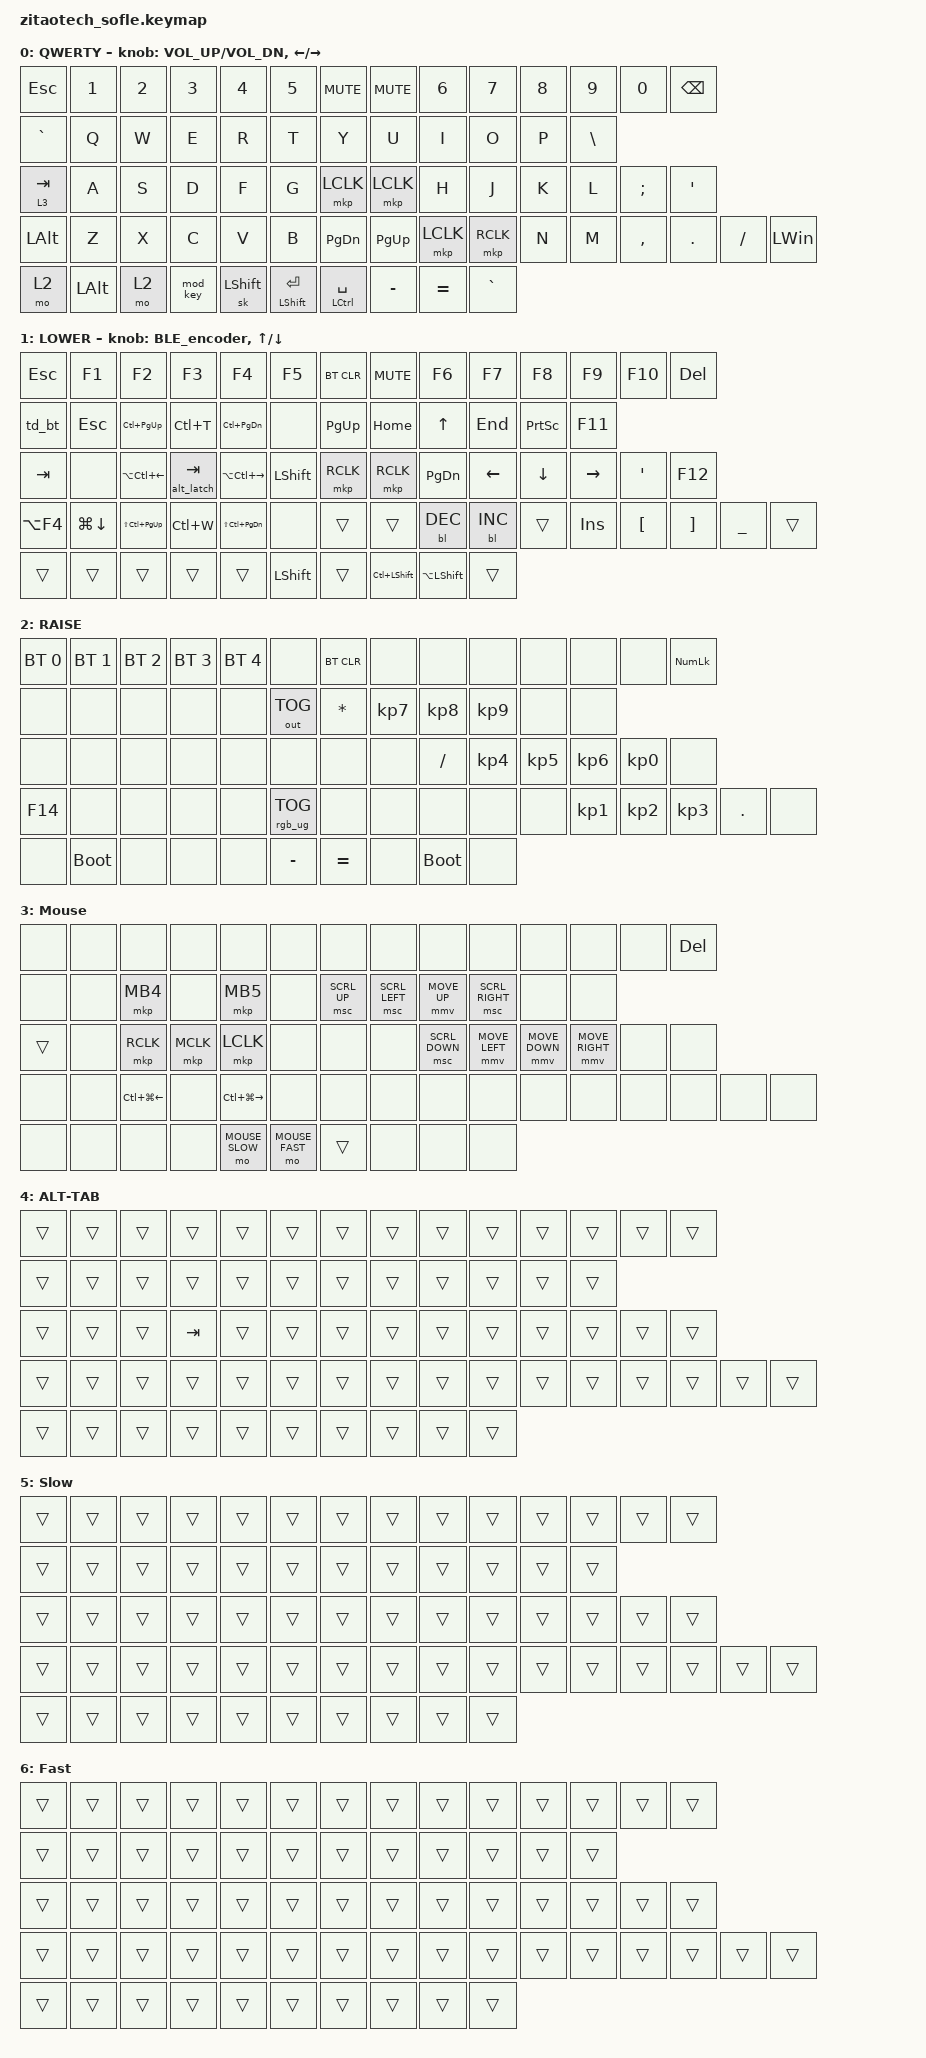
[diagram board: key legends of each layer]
/*
 * Copyright (c) 2025 ZitaoTech
 *
 * SPDX-License-Identifier: MIT
 */

#include <dt-bindings/zmk/mouse.h>
#include <behaviors.dtsi>
#include <dt-bindings/zmk/backlight.h>
#include <dt-bindings/zmk/bt.h>
#include <dt-bindings/zmk/keys.h>
#include <dt-bindings/zmk/outputs.h>
#include <dt-bindings/zmk/pointing.h>
#include <dt-bindings/zmk/rgb.h>

#define FUNC 1
#define RES 2
#define LOWER 1
#define ALT_TAB_LAYER 4
#define MOUSE_SLOW 5
#define MOUSE_FAST 6
#define BOT bootloader

/* Layout-independent "`" via WinCompose: Menu (K_APP), then 6, 0.
 * F13 is dropped over BLE, so it typed "60". RAlt is AltGr on Russian.
 * Digits 6/0 are the same on EN and RU. Fence newlines are Shift+Enter.
 *
 * WinCompose (once):
 *   1. Compose key = Application / Menu  (settings.ini: compose_key=VK.APPS)
 *   2. %USERPROFILE%\.XCompose  — this one line only, no include:
 *        <Multi_key> <6> <0> : "`" # backtick
 *      Then restart WinCompose.
 */

#define UC_MACRO_TAP_MS 5
#define UC_MACRO_WAIT_MS 5

/ {
    input_processors {
        zip_temp_layer: zip_temp_layer {
            compatible = "zmk,input-processor-temp-layer";
            #input-processor-cells = <2>;
        };

        ip_behaviors0: ip_behaviors0 {
            compatible = "zmk,input-processor-behaviors";
            #input-processor-cells = <0>;
            type = <INPUT_EV_KEY>;
            codes = <INPUT_BTN_0>;
            bindings = <&kp RIGHT>;
        };

        ip_behaviors1: ip_behaviors1 {
            compatible = "zmk,input-processor-behaviors";
            #input-processor-cells = <0>;
            type = <INPUT_EV_KEY>;
            codes = <INPUT_BTN_1>;
            bindings = <&kp LEFT>;
        };

        ip_behaviors2: ip_behaviors2 {
            compatible = "zmk,input-processor-behaviors";
            #input-processor-cells = <0>;
            type = <INPUT_EV_KEY>;
            codes = <INPUT_BTN_2>;
            bindings = <&kp DOWN>;
        };

        ip_behaviors3: ip_behaviors3 {
            compatible = "zmk,input-processor-behaviors";
            #input-processor-cells = <0>;
            type = <INPUT_EV_KEY>;
            codes = <INPUT_BTN_3>;
            bindings = <&kp UP>;
        };

        ip_y_invert: ip_y_invert {
            compatible = "zmk,input-processor-scaler";
            #input-processor-cells = <2>;
            type = <INPUT_EV_REL>;
            codes = <INPUT_REL_Y>;
        };

        ip_x_half: ip_x_half {
            compatible = "zmk,input-processor-scaler";
            #input-processor-cells = <2>;
            type = <INPUT_EV_REL>;
            codes = <INPUT_REL_X>;
            track-remainders;
        };

        /* Scale &mmv X/Y. Params are multiplier then divisor (max 16). */

        ip_xy_scale: ip_xy_scale {
            compatible = "zmk,input-processor-scaler";
            #input-processor-cells = <2>;
            type = <INPUT_EV_REL>;
            codes = <INPUT_REL_X INPUT_REL_Y>;
            track-remainders;
        };

        ip_xy_to_scroll: ip_xy_to_scroll {
            compatible = "zmk,input-processor-code-mapper";
            #input-processor-cells = <0>;
            type = <INPUT_EV_REL>;
            map = <INPUT_REL_Y INPUT_REL_WHEEL>, <INPUT_REL_X INPUT_REL_HWHEEL>;
        };

        /* Drop X/Y/wheel while Left Ctrl is in the HID report (held key or LC()). */

        ip_mute_if_lctrl: ip_mute_if_lctrl {
            compatible = "zmk,input-processor-mute-if-lctrl";
            #input-processor-cells = <0>;
        };
    };
};

/ {
    macros {
        // Replaces "&mo 1" on lower-layer hold keys.

        mod_key: mod_key {
            compatible = "zmk,behavior-macro";
            #binding-cells = <0>;
            wait-ms = <0>;
            tap-ms = <0>;
            bindings =
                <&macro_press>,
                <&mo LOWER>,
                <&macro_pause_for_release>,
                <&macro_release>,
                <&kp LALT>,
                <&macro_release>,
                <&mo ALT_TAB_LAYER>,
                <&macro_release>,
                <&mo LOWER>;
        };

        // First tap: press Alt once, send key, enable ALT_TAB_LAYER.
        // Further taps hit that layer (plain &kp) so Alt refcount stays at 1.
        // ZMK refcounts modifiers — macro_press LALT on every tap was the "giga latch".

        alt_latch: alt_latch {
            compatible = "zmk,behavior-macro-one-param";
            #binding-cells = <1>;
            wait-ms = <0>;
            tap-ms = <5>;
            bindings =
                <&macro_press>,
                <&kp LALT &macro_param_1to1>,
                <&macro_tap>,
                <&kp MACRO_PLACEHOLDER>,
                <&macro_press>,
                <&mo ALT_TAB_LAYER>;
        };

        // Single tap: "``" with the caret between the backticks.
        // Sequences are fully inlined (not nested `&uc`) so later keys like LEFT
        // are not queued ahead of the unicode HID events.

        bt_pair: backtick_pair {
            compatible = "zmk,behavior-macro";
            #binding-cells = <0>;
            wait-ms = <UC_MACRO_WAIT_MS>;
            tap-ms = <UC_MACRO_TAP_MS>;
            bindings =
                <&macro_tap>,
                <&kp K_APP &kp N6 &kp N0 &kp K_APP &kp N6 &kp N0 &kp LEFT>;
        };

        // Double tap: "```" with the caret after the backticks.

        bt_triple: backtick_triple {
            compatible = "zmk,behavior-macro";
            #binding-cells = <0>;
            wait-ms = <UC_MACRO_WAIT_MS>;
            tap-ms = <UC_MACRO_TAP_MS>;
            bindings =
                <&macro_tap>,
                <&kp K_APP &kp N6 &kp N0 &kp K_APP &kp N6 &kp N0 &kp K_APP &kp N6 &kp N0>;
        };

        // Triple tap: fence with Shift+Enter newlines, caret on the empty middle line.

        bt_fence: code_fence {
            compatible = "zmk,behavior-macro";
            #binding-cells = <0>;
            wait-ms = <UC_MACRO_WAIT_MS>;
            tap-ms = <UC_MACRO_TAP_MS>;
            bindings =
                <&macro_tap>,
                <&kp K_APP &kp N6 &kp N0 &kp K_APP &kp N6 &kp N0 &kp K_APP &kp N6 &kp N0 &kp LS(ENTER) &kp LS(ENTER) &kp K_APP &kp N6 &kp N0 &kp K_APP &kp N6 &kp N0 &kp K_APP &kp N6 &kp N0 &kp LS(ENTER) &kp UP &kp UP>;
        };
    };
};

/ {
    behaviors {
        td0: tap_dance_0 {
            compatible = "zmk,behavior-tap-dance";
            #binding-cells = <0>;
            tapping-term-ms = <400>;
            bindings = <&mkp LCLK>, <&bt BT_CLR>;
        };
    };

    behaviors {
        tdRMCLK: tap_dance_R_LMouse {
            compatible = "zmk,behavior-tap-dance";
            #binding-cells = <0>;
            tapping-term-ms = <400>;
            bindings = <&mkp RCLK>, <&mkp MCLK>;
        };
    };

    behaviors {
        // Single tap: "``" pair. Double tap: "```". Triple tap: markdown code fence block.

        td_bt: tap_dance_backtick {
            compatible = "zmk,behavior-tap-dance";
            #binding-cells = <0>;
            tapping-term-ms = <400>;
            bindings = <&bt_pair>, <&bt_triple>, <&bt_fence>;
        };
    };

    behaviors {
        hm: homerow_mods {
            compatible = "zmk,behavior-hold-tap";
            #binding-cells = <2>;
            tapping-term-ms = <500>;
            bindings = <&kp &kp>;
        };
    };

    behaviors {
        sp_sc: behavior_spacescroll {
            compatible = "zmk,behavior-hold-tap";
            #binding-cells = <2>;
            flavor = "tap-preferred";     /* 单击优先 */
            tapping-term-ms = <200>;       /* 长按阈值 */
            bindings = <&none &kp>;        /* hold=none, tap=space */
        };
    };

    behaviors {
        LMouse_sc: behavior_LMouse_Scroll {
            compatible = "zmk,behavior-hold-tap";
            #binding-cells = <2>;
            flavor = "tap-preferred";     /* 单击优先 */
            tapping-term-ms = <200>;       /* 长按阈值 */
            bindings = <&none &mkp>;        /* hold=none, tap=Lmouse */
        };
    };

    behaviors {
        M_kp: behavior_mouse_keypress {
            compatible = "zmk,behavior-hold-tap";
            #binding-cells = <2>;
            flavor = "tap-preferred";     /* 单击优先 */
            tapping-term-ms = <200>;       /* 长按阈值 */
            bindings = <&mkp &kp>;        /* hold=mou key press, tap=key*/
        };
    };

    behaviors {
        // Layer-tap where pressing any other key while held immediately
        // triggers the hold (layer), instead of waiting for tapping-term.

        mlt: mouse_layer_tap {
            compatible = "zmk,behavior-hold-tap";
            #binding-cells = <2>;
            flavor = "hold-preferred";
            tapping-term-ms = <150>;
            bindings = <&mo &kp>;
        };
    };

    behaviors {
        BLE_encoder: BLE_encoder {
            compatible = "zmk,behavior-sensor-rotate";
            #sensor-binding-cells = <0>;
            bindings = <&bt BT_NXT>, <&bt BT_PRV>;
        };
    };

    keymap {
        compatible = "zmk,keymap";

        default_layer {
            display-name = "QWERTY";
            bindings = <
&kp ESC       &kp N1        &kp N2  &kp N3    &kp N4          &kp N5                &kp C_MUTE       &kp C_MUTE  &kp N6     &kp N7     &kp N8  &kp N9    &kp N0     &kp BACKSPACE
&kp GRAVE     &kp Q         &kp W   &kp E     &kp R           &kp T                 &kp Y            &kp U       &kp I      &kp O      &kp P   &kp BSLH
&mlt 3 TAB    &kp A         &kp S   &kp D     &kp F           &kp G                 &mkp LCLK        &mkp LCLK   &kp H      &kp J      &kp K   &kp L     &kp SEMI   &kp SINGLE_QUOTE
&kp LEFT_ALT  &kp Z         &kp X   &kp C     &kp V           &kp B                 &kp PG_DN        &kp PG_UP   &mkp LCLK  &mkp RCLK  &kp N   &kp M     &kp COMMA  &kp DOT           &kp FSLH  &kp LEFT_WIN
&mo 2         &kp LEFT_ALT  &mo 2   &mod_key  &sk LEFT_SHIFT  &mt LEFT_SHIFT ENTER  &mt LCTRL SPACE  &kp MINUS   &kp EQUAL  &kp GRAVE
            >;

            sensor-bindings = <&inc_dec_kp C_VOL_UP C_VOL_DN &inc_dec_kp LEFT RIGHT>;
        };

        lower_layer {
            display-name = "LOWER";
            bindings = <
&kp ESC     &kp F1              &kp F2                  &kp F3          &kp F4                   &kp F5          &bt BT_CLR   &kp C_MUTE          &kp F6              &kp F7      &kp F8           &kp F9      &kp F10   &kp DELETE
&td_bt      &kp ESCAPE          &kp LC(PAGE_UP)         &kp LC(T)       &kp LC(PAGE_DOWN)        &none           &kp PAGE_UP  &kp HOME            &kp UP              &kp END     &kp PRINTSCREEN  &kp F11
&kp TAB     &none               &kp LA(LC(LEFT_ARROW))  &alt_latch TAB  &kp LA(LC(RIGHT_ARROW))  &kp LEFT_SHIFT  &mkp RCLK    &mkp RCLK           &kp PAGE_DOWN       &kp LEFT    &kp DOWN         &kp RIGHT   &kp SQT   &kp F12
&kp LA(F4)  &kp LG(DOWN_ARROW)  &kp LS(LC(PAGE_UP))     &kp LC(W)       &kp LS(LC(PAGE_DOWN))    &none           &trans       &trans              &bl BL_DEC          &bl BL_INC  &trans           &kp INSERT  &kp LBKT  &kp RBKT    &kp UNDER  &trans
&trans      &trans              &trans                  &trans          &trans                   &kp LEFT_SHIFT  &trans       &kp LC(LEFT_SHIFT)  &kp LA(LEFT_SHIFT)  &trans
            >;

            sensor-bindings = <&BLE_encoder &inc_dec_kp UP DOWN>;
        };

        raise_layer {
            display-name = "RAISE";
            bindings = <
&bt BT_SEL 0  &bt BT_SEL 1  &bt BT_SEL 2  &bt BT_SEL 3  &bt BT_SEL 4  &none            &bt BT_CLR    &none            &none            &none            &none            &none            &none            &kp KP_NUMLOCK
&none         &none         &none         &none         &none         &out OUT_TOG     &kp ASTERISK  &kp KP_NUMBER_7  &kp KP_NUMBER_8  &kp KP_NUMBER_9  &none            &none
&none         &none         &none         &none         &none         &none            &none         &none            &kp SLASH        &kp KP_NUMBER_4  &kp KP_NUMBER_5  &kp KP_NUMBER_6  &kp KP_NUMBER_0  &none
&kp F14       &none         &none         &none         &none         &rgb_ug RGB_TOG  &none         &none            &none            &none            &none            &kp KP_NUMBER_1  &kp KP_NUMBER_2  &kp KP_NUMBER_3  &kp PERIOD  &none
&none         &bootloader   &none         &none         &none         &kp MINUS        &kp EQUAL     &none            &bootloader      &none
            >;
        };

        /* MB4/MB5 are the real mouse back/forward buttons. C_AC_BACK/FORWARD
         * are consumer usages (0x224/0x225) that USB hosts often honor, but
         * BLE HID stacks commonly drop them (same class of issue as F13). */

        Mouse {
            display-name = "Mouse";
            bindings = <
&none   &none  &none             &none      &none              &none           &none         &none           &none           &none            &none           &none            &none  &kp DELETE
&none   &none  &mkp MB4          &none      &mkp MB5           &none           &msc SCRL_UP  &msc SCRL_LEFT  &mmv MOVE_UP    &msc SCRL_RIGHT  &none           &none
&trans  &none  &mkp RCLK         &mkp MCLK  &mkp LCLK          &none           &none         &none           &msc SCRL_DOWN  &mmv MOVE_LEFT   &mmv MOVE_DOWN  &mmv MOVE_RIGHT  &none  &none
&none   &none  &kp LC(LG(LEFT))  &none      &kp LC(LG(RIGHT))  &none           &none         &none           &none           &none            &none           &none            &none  &none       &none  &none
&none   &none  &none             &none      &mo MOUSE_SLOW     &mo MOUSE_FAST  &trans        &none           &none           &none
            >;
        };

        // Active after first &alt_latch; same key position is plain Tab (no extra Alt press).

        alt_tab_layer {
            display-name = "ALT-TAB";
            bindings = <
&trans  &trans  &trans  &trans   &trans  &trans  &trans  &trans  &trans  &trans  &trans  &trans  &trans  &trans
&trans  &trans  &trans  &trans   &trans  &trans  &trans  &trans  &trans  &trans  &trans  &trans
&trans  &trans  &trans  &kp TAB  &trans  &trans  &trans  &trans  &trans  &trans  &trans  &trans  &trans  &trans
&trans  &trans  &trans  &trans   &trans  &trans  &trans  &trans  &trans  &trans  &trans  &trans  &trans  &trans  &trans  &trans
&trans  &trans  &trans  &trans   &trans  &trans  &trans  &trans  &trans  &trans
            >;
        };

        // Held by F21/F22 on Mouse. All &trans so &mmv keys stay on Mouse;
        // speed is applied by &mmv_input_listener scalers below.

        mouse_slow {
            display-name = "Slow";
            bindings = <
&trans  &trans  &trans  &trans  &trans  &trans  &trans  &trans  &trans  &trans  &trans  &trans  &trans  &trans
&trans  &trans  &trans  &trans  &trans  &trans  &trans  &trans  &trans  &trans  &trans  &trans
&trans  &trans  &trans  &trans  &trans  &trans  &trans  &trans  &trans  &trans  &trans  &trans  &trans  &trans
&trans  &trans  &trans  &trans  &trans  &trans  &trans  &trans  &trans  &trans  &trans  &trans  &trans  &trans  &trans  &trans
&trans  &trans  &trans  &trans  &trans  &trans  &trans  &trans  &trans  &trans
            >;
        };

        mouse_fast {
            display-name = "Fast";
            bindings = <
&trans  &trans  &trans  &trans  &trans  &trans  &trans  &trans  &trans  &trans  &trans  &trans  &trans  &trans
&trans  &trans  &trans  &trans  &trans  &trans  &trans  &trans  &trans  &trans  &trans  &trans
&trans  &trans  &trans  &trans  &trans  &trans  &trans  &trans  &trans  &trans  &trans  &trans  &trans  &trans
&trans  &trans  &trans  &trans  &trans  &trans  &trans  &trans  &trans  &trans  &trans  &trans  &trans  &trans  &trans  &trans
&trans  &trans  &trans  &trans  &trans  &trans  &trans  &trans  &trans  &trans
            >;
        };
    };
};

/* While layer 1 (LOWER) is held, the right trackpoint scrolls instead of moving
 * the pointer. The override replaces the listener's base processors for that layer,
 * so trackpoint movement no longer temp-activates the Mouse layer during scroll.
 *
 * ip_mute_if_lctrl drops movement when Left Ctrl is in the HID report, including
 * implicit mods from LC(...) keys (Ctrl+Tab, Ctrl+W, etc.). */
/* F21 (MOUSE_SLOW) = 1/3 &mmv speed; F22 (MOUSE_FAST) = 3x. Scroll keys are unchanged.
 * Slow is listed first so it wins if both thumbs are held. */

&mmv_input_listener {
    slow {
        layers = <MOUSE_SLOW>;
        input-processors = <&ip_xy_scale 1 3>;
    };

    fast {
        layers = <MOUSE_FAST>;
        input-processors = <&ip_xy_scale 3 1>;
    };
};

&trackpoint_listener {
    scroller {
        layers = <LOWER>;
        input-processors =
            <&ip_mute_if_lctrl>,
            <&ip_x_half 1 2>,
            <&ip_y_invert (-1) 1>,
            <&ip_xy_to_scroll>;
    };
};
